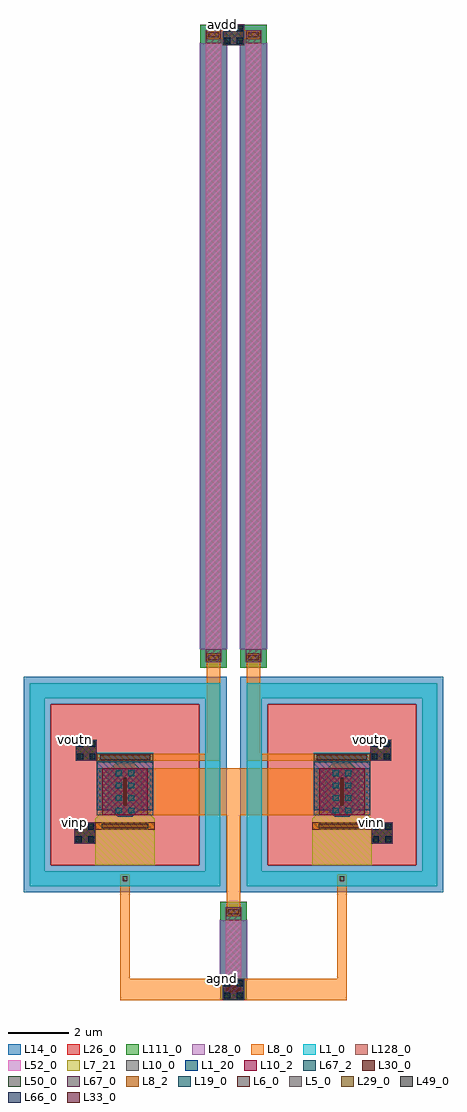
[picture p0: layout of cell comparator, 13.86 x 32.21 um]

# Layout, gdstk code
import gdstk
lib = gdstk.Library(unit=1e-6, precision=1e-09)
def R(c, l, rs):  # rectangles x0, y0, x1, y1
    for r in rs: c.add(gdstk.rectangle(r[:2], r[2:], *l))
def A(c, l, x, y, w, h, nx, ny, dx, dy):  # array of equal rectangles
    R(c, l, [(x+i*dx, y+j*dy, x+i*dx+w, y+j*dy+h) for i in range(nx) for j in range(ny)])
def P(c, l, *ps):  # polygons
    for p in ps: c.add(gdstk.Polygon(p, *l))
L1_0 = (1, 0)
L1_20 = (1, 20)
L5_0 = (5, 0)
L6_0 = (6, 0)
L7_21 = (7, 21)
L8_0 = (8, 0)
L8_2 = (8, 2)
L10_0 = (10, 0)
L10_2 = (10, 2)
L14_0 = (14, 0)
L19_0 = (19, 0)
L26_0 = (26, 0)
L28_0 = (28, 0)
L29_0 = (29, 0)
L30_0 = (30, 0)
L33_0 = (33, 0)
L49_0 = (49, 0)
L50_0 = (50, 0)
L52_0 = (52, 0)
L66_0 = (66, 0)
L67_0 = (67, 0)
L67_2 = (67, 2)
L111_0 = (111, 0)
L128_0 = (128, 0)

via_stack = lib.new_cell('via_stack')
R(via_stack, L8_0, [(-0.35,-0.35,0.35,0.35)])
R(via_stack, L10_0, [(-0.35,-0.35,0.35,0.35)])
R(via_stack, L19_0, [(-0.3,-0.3,-0.11,-0.11), (0.11,-0.3,0.3,-0.11), (-0.3,0.11,-0.11,0.3), (0.11,0.11,0.3,0.3)])
R(via_stack, L29_0, [(-0.3,-0.3,-0.11,-0.11), (0.11,-0.3,0.3,-0.11), (-0.3,0.11,-0.11,0.3), (0.11,0.11,0.3,0.3)])
R(via_stack, L30_0, [(-0.35,-0.35,0.35,0.35)])
R(via_stack, L49_0, [(-0.3,-0.3,-0.11,-0.11), (0.11,-0.3,0.3,-0.11), (-0.3,0.11,-0.11,0.3), (0.11,0.11,0.3,0.3)])
R(via_stack, L50_0, [(-0.35,-0.35,0.35,0.35)])
R(via_stack, L66_0, [(-0.3,-0.3,-0.11,-0.11), (0.11,-0.3,0.3,-0.11), (-0.3,0.11,-0.11,0.3), (0.11,0.11,0.3,0.3)])
R(via_stack, L67_0, [(-0.35,-0.35,0.35,0.35)])

npn13g2 = lib.new_cell('npn13G2')
R(npn13g2, L1_0, [(-0.925,0.98,0.925,1.28)])
P(npn13g2, L1_0, [(-3.15,-3.13),(-3.15,3.58),(2.65,3.58),(2.65,3.08),(-2.65,3.08),(-2.65,-2.63),(2.65,-2.63),(2.65,3.58),(3.15,3.58),(3.15,-3.13)])
P(npn13g2, L1_20, [(-0.235,-0.83),(-0.445,-0.62),(-0.925,-0.62),(-0.925,0.98),(0.925,0.98),(0.925,-0.62),(0.445,-0.62),(0.235,-0.83)])
R(npn13g2, L6_0, [(-0.76,-1.22,0.76,-1.06), (-0.825,1.05,0.825,1.21)])
P(npn13g2, L7_21, [(-0.975,-2.43),(-0.975,-0.9),(-0.555,-0.48),(-0.555,0.69),(-0.305,0.94),(0.305,0.94),(0.555,0.69),(0.555,-0.48),(0.975,-0.9),(0.975,-2.43)])
R(npn13g2, L8_0, [(-0.975,-1.26,0.975,-1.02), (-0.35,-0.785,0.35,0.77), (-0.925,1.01,0.925,1.25)])
R(npn13g2, L8_2, [(-0.975,-1.26,0.975,-1.02), (-0.925,1.01,0.925,1.25)])
R(npn13g2, L10_0, [(-0.925,-0.785,0.925,0.77)])
R(npn13g2, L10_2, [(-0.745,-0.785,0.745,0.77)])
P(npn13g2, L14_0, [(-3.35,-3.33),(-3.35,3.78),(2.45,3.78),(2.45,2.88),(-2.45,2.88),(-2.45,-2.43),(2.45,-2.43),(2.45,3.78),(3.35,3.78),(3.35,-3.33)])
A(npn13g2, L19_0, -0.3, -0.72, 0.19, 0.19, 1, 4, 0, 0.41)
A(npn13g2, L19_0, 0.11, -0.72, 0.19, 0.19, 1, 4, 0, 0.41)
R(npn13g2, L26_0, [(-2.45,-2.43,2.45,2.88)])
R(npn13g2, L33_0, [(-0.035,-0.45,0.035,0.45)])
npn13g2.add(gdstk.Label('npn13G2', (0.015,2.31), layer=63, texttype=0))
npn13g2.add(gdstk.Label('C', (0,1.13), layer=63, texttype=0))
npn13g2.add(gdstk.Label('B', (0,-1.14), layer=63, texttype=0))
npn13g2.add(gdstk.Label('E', (0,-0.007), layer=63, texttype=0))
npn13g2.add(gdstk.Label('Ae=1*1*0.07*0.90', (-1.977,-2.546), layer=63, texttype=0))

rppd_2 = lib.new_cell('rppd$2')
R(rppd_2, L5_0, [(0,-0.43,0.5,-0.2), (0,-0.2,0.5,0), (0,20,0.5,20.2), (0,20.2,0.5,20.43)])
R(rppd_2, L6_0, [(0.07,-0.36,0.43,-0.2), (0.07,20.2,0.43,20.36)])
R(rppd_2, L8_0, [(0.02,-0.43,0.48,-0.13), (0.02,20.13,0.48,20.43)])
R(rppd_2, L8_2, [(0.02,-0.43,0.48,-0.13), (0.02,20.13,0.48,20.43)])
R(rppd_2, L14_0, [(-0.18,-0.61,0.68,0), (-0.18,0,0.68,20), (-0.18,20,0.68,20.61)])
R(rppd_2, L28_0, [(-0.2,0,0.7,20)])
R(rppd_2, L52_0, [(0,0,0.5,20)])
R(rppd_2, L111_0, [(-0.18,-0.61,0.68,0), (-0.2,0,0.7,20), (-0.18,20,0.68,20.61)])
R(rppd_2, L128_0, [(0,0,0.5,20)])
rppd_2.add(gdstk.Label('rpnd r=10416.680', (0.25,10), layer=63, texttype=0))
rppd_2.add(gdstk.Label('rppd', (0.25,10), layer=52, texttype=0))

rppd_3 = lib.new_cell('rppd$3')
R(rppd_3, L5_0, [(0,-0.43,0.5,-0.2), (0,-0.2,0.5,0), (0,2,0.5,2.2), (0,2.2,0.5,2.43)])
R(rppd_3, L6_0, [(0.07,-0.36,0.43,-0.2), (0.07,2.2,0.43,2.36)])
R(rppd_3, L8_0, [(0.02,-0.43,0.48,-0.13), (0.02,2.13,0.48,2.43)])
R(rppd_3, L8_2, [(0.02,-0.43,0.48,-0.13), (0.02,2.13,0.48,2.43)])
R(rppd_3, L14_0, [(-0.18,-0.61,0.68,0), (-0.18,0,0.68,2), (-0.18,2,0.68,2.61)])
R(rppd_3, L28_0, [(-0.2,0,0.7,2)])
R(rppd_3, L52_0, [(0,0,0.5,2)])
R(rppd_3, L111_0, [(-0.18,-0.61,0.68,0), (-0.2,0,0.7,2), (-0.18,2,0.68,2.61)])
R(rppd_3, L128_0, [(0,0,0.5,2)])
rppd_3.add(gdstk.Label('rpnd r=1167.668', (0.25,1), layer=63, texttype=0))
rppd_3.add(gdstk.Label('rppd', (0.25,1), layer=52, texttype=0))

comparator = lib.new_cell('comparator')
R(comparator, L6_0, [(-12.67,-15.595,-12.51,-15.435), (-5.51,-15.595,-5.35,-15.435)])
R(comparator, L8_0, [(-12.74,-19.515,-12.44,-15.365), (-12.44,-19.515,-9.36,-18.815), (-8.66,-19.515,-5.58,-18.815), (-5.58,-19.515,-5.28,-15.365), (-9.24,-16.455,-8.78,-13.42), (-12.24,-13.42,-5.78,-11.865), (-11.665,-11.625,-9.9,-11.385), (-9.9,-11.625,-9.44,-8.365), (-8.58,-11.625,-8.12,-8.365), (-8.12,-11.625,-6.355,-11.385), (-9.44,12.195,-8.58,12.495)])
R(comparator, L67_2, [(-9.36,-19.515,-8.66,-18.815), (-14.265,-14.355,-13.565,-13.655), (-4.455,-14.355,-3.755,-13.655), (-14.215,-11.625,-13.515,-10.925), (-4.505,-11.625,-3.805,-10.925), (-9.36,11.995,-8.66,12.695)])
comparator.add(gdstk.Reference(via_stack, (-13.865,-11.275)))
comparator.add(gdstk.Reference(via_stack, (-4.155,-11.275)))
comparator.add(gdstk.Reference(via_stack, (-4.105,-14.005)))
comparator.add(gdstk.Reference(npn13g2, (-12.59,-12.635)))
comparator.add(gdstk.Reference(npn13g2, (-5.43,-12.635)))
comparator.add(gdstk.Reference(rppd_2, (-9.92,-7.935)))
comparator.add(gdstk.Reference(rppd_2, (-8.6,-7.935)))
comparator.add(gdstk.Reference(via_stack, (-9.01,12.345)))
comparator.add(gdstk.Reference(via_stack, (-13.915,-14.005)))
comparator.add(gdstk.Reference(via_stack, (-9.01,-19.165)))
comparator.add(gdstk.Reference(rppd_3, (-9.26,-18.885)))
comparator.add(gdstk.Label('avdd', (-9.36,12.695), layer=67, texttype=25))
comparator.add(gdstk.Label('voutn', (-14.215,-10.925), layer=67, texttype=25))
comparator.add(gdstk.Label('vinp', (-14.265,-13.655), layer=67, texttype=25))
comparator.add(gdstk.Label('voutp', (-4.505,-10.925), layer=67, texttype=25))
comparator.add(gdstk.Label('vinn', (-4.455,-13.655), layer=67, texttype=25))
comparator.add(gdstk.Label('agnd', (-9.36,-18.815), layer=67, texttype=25))

lib.write_gds('comparator.gds')
